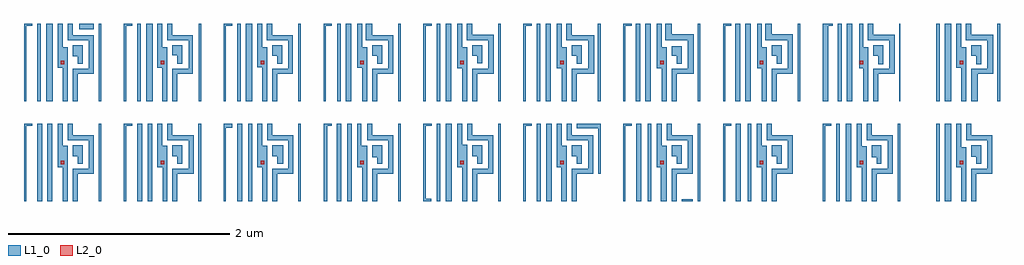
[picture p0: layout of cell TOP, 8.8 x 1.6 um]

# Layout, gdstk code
import gdstk
lib = gdstk.Library(unit=1e-6, precision=1e-09)
def R(c, l, rs):  # rectangles x0, y0, x1, y1
    for r in rs: c.add(gdstk.rectangle(r[:2], r[2:], *l))
def A(c, l, x, y, w, h, nx, ny, dx, dy):  # array of equal rectangles
    R(c, l, [(x+i*dx, y+j*dy, x+i*dx+w, y+j*dy+h) for i in range(nx) for j in range(ny)])
def P(c, l, *ps):  # polygons
    for p in ps: c.add(gdstk.Polygon(p, *l))
L1_0 = (1, 0)
L2_0 = (2, 0)

top = lib.new_cell('TOP')
A(top, L1_0, 2.473, 0, 0.023, 0.696, 3, 1, 0.9, 0)
A(top, L1_0, 0.12, 0.9, 0.033, 0.696, 3, 1, 0.9, 0)
A(top, L1_0, 0.673, 0.9, 0.023, 0.696, 8, 1, 0.9, 0)
A(top, L1_0, 2.9, 0.9, 0.049, 0.696, 5, 1, 0.9, 0)
R(top, L1_0, [(0.12,0,0.165,0.696), (0.21,0,0.255,0.696), (0.673,0,0.696,0.696), (1.02,0,1.065,0.696), (1.114,0,1.155,0.696), (1.57,0,1.596,0.696), (1.92,0,1.965,0.696), (2.021,0,2.055,0.696), (2.82,0,2.859,0.696), (2.911,0,2.955,0.696), (3.72,0,3.753,0.696), (3.803,0,3.855,0.696), (4.62,0,4.657,0.696), (4.705,0,4.755,0.696), (5.52,0,5.565,0.696), (5.622,0,5.655,0.696), (5.928,0,6.028,0.015), (6.073,0,6.096,0.696), (6.416,0,6.461,0.696), (6.524,0,6.555,0.696), (7.32,0,7.353,0.696), (7.404,0,7.455,0.696), (7.873,0,7.896,0.696), (8.22,0,8.253,0.696), (8.3,0,8.355,0.696), (0.2,0.9,0.261,1.596), (1.1,0.9,1.161,1.596), (2,0.9,2.055,1.596), (2.823,0.9,2.853,1.596), (3.72,0.9,3.753,1.596), (4.62,0.9,4.653,1.596), (5.512,0.9,5.553,1.596), (6.412,0.9,6.453,1.596), (7.335,0.9,7.368,1.596), (7.415,0.9,7.464,1.596), (7.888,0.9,7.896,1.596), (8.22,0.9,8.253,1.596), (8.3,0.9,8.355,1.596), (8.773,0.9,8.796,1.596), (0.498,1.548,0.628,1.596)])
P(top, L1_0, [(4.038,0.9),(4.038,1.193),(4.183,1.193),(4.183,1.448),(3.988,1.448),(3.988,1.596),(4.038,1.596),(4.038,1.497),(4.233,1.497),(4.233,1.148),(4.083,1.148),(4.083,0.9)],
  [(7.563,0.9),(7.563,1.195),(7.529,1.195),(7.529,1.596),(7.563,1.596),(7.563,1.386),(7.608,1.386),(7.608,0.9)],
  [(7.2,0.9),(7.2,1.596),(7.29,1.596),(7.29,1.58),(7.25,1.58),(7.25,0.9)],
  [(3.048,0),(3.048,0.303),(3.003,0.303),(3.003,0.696),(3.04,0.696),(3.04,0.498),(3.093,0.498),(3.093,0)],
  [(1.383,1.238),(1.383,1.315),(1.338,1.315),(1.338,1.403),(1.428,1.403),(1.428,1.238)],
  [(8.448,0),(8.448,0.303),(8.403,0.303),(8.403,0.696),(8.448,0.696),(8.448,0.486),(8.493,0.486),(8.493,0)],
  [(0.348,0.9),(0.348,1.203),(0.303,1.203),(0.303,1.596),(0.348,1.596),(0.348,1.386),(0.393,1.386),(0.393,0.9)],
  [(1.248,0.9),(1.248,1.203),(1.203,1.203),(1.203,1.596),(1.248,1.596),(1.248,1.386),(1.293,1.386),(1.293,0.9)],
  [(3.048,0.9),(3.048,1.203),(3.003,1.203),(3.003,1.596),(3.048,1.596),(3.048,1.386),(3.093,1.386),(3.093,0.9)],
  [(8.448,0.9),(8.448,1.203),(8.403,1.203),(8.403,1.596),(8.448,1.596),(8.448,1.386),(8.493,1.386),(8.493,0.9)],
  [(3.183,0.338),(3.183,0.395),(3.138,0.395),(3.138,0.503),(3.228,0.503),(3.228,0.338)],
  [(7.683,0.338),(7.683,0.395),(7.638,0.395),(7.638,0.503),(7.728,0.503),(7.728,0.338)],
  [(4.938,0.9),(4.938,1.193),(5.083,1.193),(5.083,1.448),(4.888,1.448),(4.888,1.596),(4.938,1.596),(4.938,1.493),(5.139,1.493),(5.139,1.148),(4.983,1.148),(4.983,0.9)],
  [(1.251,0),(1.251,0.303),(1.203,0.303),(1.203,0.696),(1.248,0.696),(1.248,0.498),(1.293,0.498),(1.293,0)],
  [(0,0),(0,0.696),(0.075,0.696),(0.075,0.68),(0.02,0.68),(0.02,0)],
  [(0.9,0),(0.9,0.696),(0.975,0.696),(0.975,0.68),(0.92,0.68),(0.92,0)],
  [(0,0.9),(0,1.596),(0.075,1.596),(0.075,1.58),(0.02,1.58),(0.02,0.9)],
  [(0.9,0.9),(0.9,1.596),(0.975,1.596),(0.975,1.58),(0.92,1.58),(0.92,0.9)],
  [(4.5,0),(4.5,0.696),(4.575,0.696),(4.575,0.68),(4.52,0.68),(4.52,0)],
  [(5.4,0),(5.4,0.696),(5.475,0.696),(5.475,0.68),(5.42,0.68),(5.42,0)],
  [(6.3,0),(6.3,0.696),(6.375,0.696),(6.375,0.68),(6.32,0.68),(6.32,0)],
  [(4.5,0.9),(4.5,1.596),(4.575,1.596),(4.575,1.58),(4.52,1.58),(4.52,0.9)],
  [(5.4,0.9),(5.4,1.596),(5.475,1.596),(5.475,1.58),(5.42,1.58),(5.42,0.9)],
  [(6.3,0.9),(6.3,1.596),(6.375,1.596),(6.375,1.58),(6.32,1.58),(6.32,0.9)],
  [(1.8,0.9),(1.8,1.596),(1.875,1.596),(1.875,1.58),(1.82,1.58),(1.82,0.9)],
  [(2.7,0.9),(2.7,1.596),(2.775,1.596),(2.775,1.58),(2.72,1.58),(2.72,0.9)],
  [(3.6,0.9),(3.6,1.596),(3.675,1.596),(3.675,1.58),(3.62,1.58),(3.62,0.9)],
  [(7.2,0),(7.2,0.696),(7.275,0.696),(7.275,0.68),(7.22,0.68),(7.22,0)],
  [(1.8,0),(1.8,0.696),(1.875,0.696),(1.875,0.66),(1.82,0.66),(1.82,0)],
  [(6.738,0.9),(6.738,1.193),(6.883,1.193),(6.883,1.448),(6.681,1.448),(6.681,1.596),(6.738,1.596),(6.738,1.505),(6.928,1.505),(6.928,1.148),(6.783,1.148),(6.783,0.9)],
  [(2.283,0.338),(2.283,0.403),(2.238,0.403),(2.238,0.503),(2.336,0.503),(2.336,0.338)],
  [(3.948,0.9),(3.948,1.195),(3.903,1.195),(3.903,1.596),(3.948,1.596),(3.948,1.386),(3.993,1.386),(3.993,0.9)],
  [(4.848,0.9),(4.848,1.195),(4.803,1.195),(4.803,1.596),(4.848,1.596),(4.848,1.386),(4.893,1.386),(4.893,0.9)],
  [(5.748,0.9),(5.748,1.195),(5.703,1.195),(5.703,1.596),(5.748,1.596),(5.748,1.386),(5.793,1.386),(5.793,0.9)],
  [(2.283,1.238),(2.283,1.308),(2.238,1.308),(2.238,1.403),(2.328,1.403),(2.328,1.238)],
  [(3.183,1.238),(3.183,1.308),(3.138,1.308),(3.138,1.403),(3.228,1.403),(3.228,1.238)],
  [(4.983,1.238),(4.983,1.308),(4.938,1.308),(4.938,1.403),(5.028,1.403),(5.028,1.238)],
  [(6.783,1.238),(6.783,1.308),(6.738,1.308),(6.738,1.403),(6.828,1.403),(6.828,1.238)],
  [(4.083,1.244),(4.083,1.308),(4.038,1.308),(4.038,1.403),(4.128,1.403),(4.128,1.244)],
  [(8.583,0.338),(8.583,0.397),(8.538,0.397),(8.538,0.503),(8.628,0.503),(8.628,0.338)],
  [(3.6,0),(3.6,0.696),(3.675,0.696),(3.675,0.68),(3.62,0.68),(3.62,0.02),(3.67,0.02),(3.67,0)],
  [(8.538,0.9),(8.538,1.193),(8.683,1.193),(8.683,1.448),(8.488,1.448),(8.488,1.596),(8.538,1.596),(8.538,1.499),(8.734,1.499),(8.734,1.148),(8.594,1.148),(8.594,0.9)],
  [(5.177,0.248),(5.177,0.656),(4.983,0.656),(4.983,0.696),(5.196,0.696),(5.196,0.248)],
  [(5.883,1.238),(5.883,1.308),(5.838,1.308),(5.838,1.396),(5.928,1.396),(5.928,1.238)],
  [(7.653,0.9),(7.653,1.193),(7.798,1.193),(7.798,1.448),(7.603,1.448),(7.603,1.596),(7.653,1.596),(7.653,1.499),(7.849,1.499),(7.849,1.148),(7.698,1.148),(7.698,0.9)],
  [(1.338,0.9),(1.338,1.193),(1.483,1.193),(1.483,1.448),(1.293,1.448),(1.293,1.596),(1.338,1.596),(1.338,1.493),(1.522,1.493),(1.522,1.148),(1.383,1.148),(1.383,0.9)],
  [(2.7,0),(2.7,0.696),(2.775,0.696),(2.775,0.68),(2.735,0.68),(2.735,0)],
  [(2.148,0.9),(2.148,1.205),(2.103,1.205),(2.103,1.596),(2.148,1.596),(2.148,1.386),(2.193,1.386),(2.193,0.9)],
  [(5.838,0.9),(5.838,1.193),(5.983,1.193),(5.983,1.448),(5.781,1.448),(5.781,1.596),(5.838,1.596),(5.838,1.501),(6.034,1.501),(6.034,1.148),(5.883,1.148),(5.883,0.9)],
  [(0.348,0),(0.348,0.303),(0.303,0.303),(0.303,0.696),(0.348,0.696),(0.348,0.498),(0.393,0.498),(0.393,0)],
  [(2.148,0),(2.148,0.303),(2.103,0.303),(2.103,0.696),(2.148,0.696),(2.148,0.498),(2.193,0.498),(2.193,0)],
  [(6.648,0),(6.648,0.303),(6.603,0.303),(6.603,0.696),(6.648,0.696),(6.648,0.498),(6.693,0.498),(6.693,0)],
  [(7.698,1.232),(7.698,1.308),(7.653,1.308),(7.653,1.403),(7.743,1.403),(7.743,1.232)],
  [(8.583,1.232),(8.583,1.308),(8.538,1.308),(8.538,1.403),(8.628,1.403),(8.628,1.232)],
  [(0.483,0.338),(0.483,0.403),(0.438,0.403),(0.438,0.503),(0.528,0.503),(0.528,0.338)],
  [(1.383,0.338),(1.383,0.403),(1.338,0.403),(1.338,0.503),(1.428,0.503),(1.428,0.338)],
  [(4.083,0.338),(4.083,0.403),(4.038,0.403),(4.038,0.503),(4.128,0.503),(4.128,0.338)],
  [(4.983,0.338),(4.983,0.403),(4.938,0.403),(4.938,0.503),(5.028,0.503),(5.028,0.338)],
  [(5.883,0.338),(5.883,0.403),(5.838,0.403),(5.838,0.503),(5.928,0.503),(5.928,0.338)],
  [(6.783,0.338),(6.783,0.403),(6.738,0.403),(6.738,0.503),(6.828,0.503),(6.828,0.338)],
  [(2.238,0.9),(2.238,1.193),(2.383,1.193),(2.383,1.448),(2.188,1.448),(2.188,1.596),(2.238,1.596),(2.238,1.493),(2.423,1.493),(2.423,1.148),(2.283,1.148),(2.283,0.9)],
  [(3.138,0.9),(3.138,1.193),(3.283,1.193),(3.283,1.448),(3.081,1.448),(3.081,1.596),(3.138,1.596),(3.138,1.493),(3.328,1.493),(3.328,1.148),(3.183,1.148),(3.183,0.9)],
  [(0.483,1.238),(0.483,1.306),(0.438,1.306),(0.438,1.403),(0.528,1.403),(0.528,1.238)],
  [(6.648,0.9),(6.648,1.195),(6.608,1.195),(6.608,1.596),(6.648,1.596),(6.648,1.386),(6.693,1.386),(6.693,0.9)],
  [(7.548,0),(7.548,0.303),(7.503,0.303),(7.503,0.696),(7.552,0.696),(7.552,0.494),(7.593,0.494),(7.593,0)],
  [(3.948,0),(3.948,0.303),(3.903,0.303),(3.903,0.696),(3.948,0.696),(3.948,0.506),(3.993,0.506),(3.993,0)],
  [(0.438,0),(0.438,0.293),(0.583,0.293),(0.583,0.548),(0.393,0.548),(0.393,0.696),(0.438,0.696),(0.438,0.593),(0.628,0.593),(0.628,0.248),(0.483,0.248),(0.483,0)],
  [(0.438,0.9),(0.438,1.193),(0.583,1.193),(0.583,1.448),(0.393,1.448),(0.393,1.596),(0.438,1.596),(0.438,1.493),(0.628,1.493),(0.628,1.148),(0.483,1.148),(0.483,0.9)],
  [(1.338,0),(1.338,0.293),(1.483,0.293),(1.483,0.548),(1.293,0.548),(1.293,0.696),(1.338,0.696),(1.338,0.593),(1.528,0.593),(1.528,0.248),(1.383,0.248),(1.383,0)],
  [(2.238,0),(2.238,0.293),(2.383,0.293),(2.383,0.548),(2.193,0.548),(2.193,0.696),(2.238,0.696),(2.238,0.593),(2.428,0.593),(2.428,0.248),(2.283,0.248),(2.283,0)],
  [(3.138,0),(3.138,0.293),(3.283,0.293),(3.283,0.548),(3.093,0.548),(3.093,0.696),(3.138,0.696),(3.138,0.593),(3.328,0.593),(3.328,0.248),(3.183,0.248),(3.183,0)],
  [(4.038,0),(4.038,0.293),(4.183,0.293),(4.183,0.548),(3.993,0.548),(3.993,0.696),(4.038,0.696),(4.038,0.593),(4.228,0.593),(4.228,0.248),(4.083,0.248),(4.083,0)],
  [(4.938,0),(4.938,0.293),(5.083,0.293),(5.083,0.548),(4.893,0.548),(4.893,0.696),(4.938,0.696),(4.938,0.593),(5.128,0.593),(5.128,0.248),(4.983,0.248),(4.983,0)],
  [(5.838,0),(5.838,0.293),(5.983,0.293),(5.983,0.548),(5.793,0.548),(5.793,0.696),(5.838,0.696),(5.838,0.593),(6.028,0.593),(6.028,0.248),(5.883,0.248),(5.883,0)],
  [(6.738,0),(6.738,0.293),(6.883,0.293),(6.883,0.548),(6.693,0.548),(6.693,0.696),(6.738,0.696),(6.738,0.593),(6.928,0.593),(6.928,0.248),(6.783,0.248),(6.783,0)],
  [(7.638,0),(7.638,0.293),(7.783,0.293),(7.783,0.548),(7.593,0.548),(7.593,0.696),(7.638,0.696),(7.638,0.593),(7.828,0.593),(7.828,0.248),(7.683,0.248),(7.683,0)],
  [(8.538,0),(8.538,0.293),(8.683,0.293),(8.683,0.548),(8.493,0.548),(8.493,0.696),(8.538,0.696),(8.538,0.593),(8.728,0.593),(8.728,0.248),(8.583,0.248),(8.583,0)],
  [(4.84,0),(4.84,0.303),(4.803,0.303),(4.803,0.696),(4.848,0.696),(4.848,0.498),(4.893,0.498),(4.893,0)],
  [(5.74,0),(5.74,0.303),(5.703,0.303),(5.703,0.696),(5.748,0.696),(5.748,0.498),(5.793,0.498),(5.793,0)])
A(top, L2_0, 0.332, 0.332, 0.032, 0.032, 10, 2, 0.9, 0.9)

lib.write_gds('TOP.gds')
